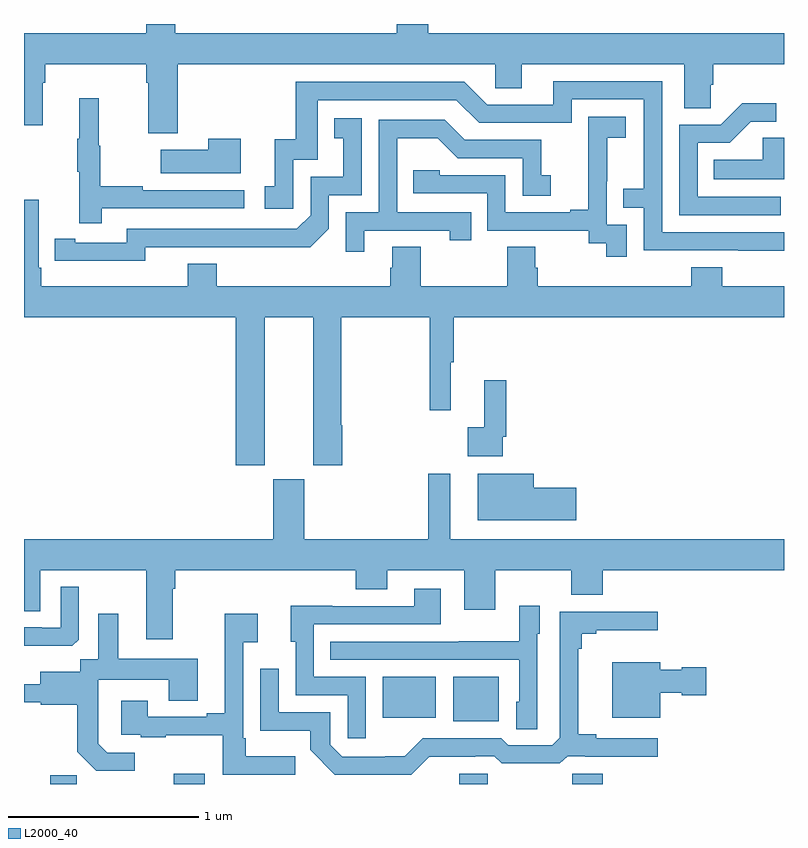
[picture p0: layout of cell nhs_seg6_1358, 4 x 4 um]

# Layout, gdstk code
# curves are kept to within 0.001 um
import gdstk
lib = gdstk.Library(unit=1e-6, precision=1e-09)
def R(c, l, rs):  # rectangles x0, y0, x1, y1
    for r in rs: c.add(gdstk.rectangle(r[:2], r[2:], *l))
def P(c, l, *ps):  # polygons
    for p in ps: c.add(gdstk.Polygon(p, *l))
L2000_40 = (2000, 40)

nhs_seg6_1358 = lib.new_cell('nhs_seg6_1358')
R(nhs_seg6_1358, L2000_40, [(193.139,991.5,193.277,991.547), (193.787,991.5,193.951,991.555), (195.29,991.5,195.441,991.554), (195.886,991.5,196.046,991.554), (195.26,991.829,195.499,992.065), (194.888,991.85,195.166,992.065)])
P(nhs_seg6_1358, L2000_40, [(193.808,995.288),(195.48,995.288),(195.48,995.161),(195.619,995.161),(195.619,995.288),(196.475,995.288),(196.475,995.056),(196.614,995.056),(196.614,995.179),(196.628,995.179),(196.628,995.288),(197,995.288),(197,995.452),(195.128,995.452),(195.128,995.5),(194.963,995.5),(194.963,995.452),(193.796,995.452),(193.796,995.5),(193.643,995.5),(193.643,995.452),(193,995.452),(193,994.968),(193.099,994.968),(193.099,995.192),(193.112,995.192),(193.112,995.288),(193.643,995.288),(193.643,995.192),(193.655,995.192),(193.655,994.926),(193.808,994.926)],
  [(197,994.404),(196.359,994.404),(196.359,995.199),(195.785,995.199),(195.785,995.076),(195.438,995.076),(195.318,995.196),(194.431,995.196),(194.431,994.894),(194.321,994.894),(194.321,994.647),(194.268,994.647),(194.268,994.527),(194.418,994.527),(194.418,994.785),(194.547,994.785),(194.547,995.1),(195.276,995.1),(195.396,994.98),(195.882,994.98),(195.882,995.103),(196.263,995.103),(196.263,994.634),(196.153,994.634),(196.153,994.533),(196.263,994.533),(196.263,994.308),(197,994.307)],
  [(193.409,994.53),(194.158,994.53),(194.158,994.626),(193.625,994.626),(193.625,994.646),(193.402,994.646),(193.402,994.86),(193.394,994.86),(193.394,995.11),(193.292,995.11),(193.292,994.897),(193.281,994.897),(193.281,994.723),(193.292,994.723),(193.292,994.452),(193.409,994.452)],
  [(196.984,994.59),(196.545,994.59),(196.545,994.875),(196.714,994.875),(196.825,994.986),(196.96,994.986),(196.96,995.084),(196.781,995.084),(196.668,994.971),(196.449,994.971),(196.449,994.494),(196.984,994.494)],
  [(196.173,994.443),(196.068,994.443),(196.068,994.673),(196.07,994.673),(196.07,994.901),(196.168,994.901),(196.168,995.011),(195.97,995.011),(195.97,994.805),(195.971,994.805),(195.971,994.522),(195.875,994.522),(195.875,994.509),(195.534,994.509),(195.534,994.704),(195.189,994.704),(195.189,994.731),(195.049,994.731),(195.049,994.608),(195.438,994.608),(195.438,994.413),(195.972,994.413),(195.972,994.345),(196.065,994.345),(196.065,994.275),(196.173,994.275)],
  [(193.638,994.326),(194.506,994.325),(194.604,994.422),(194.604,994.599),(194.778,994.599),(194.778,995.005),(194.632,995.005),(194.632,994.899),(194.681,994.899),(194.681,994.695),(194.508,994.695),(194.508,994.494),(194.436,994.422),(193.542,994.422),(193.542,994.35),(193.27,994.35),(193.27,994.37),(193.162,994.37),(193.162,994.254),(193.638,994.253)],
  [(194.791,994.413),(195.242,994.413),(195.242,994.362),(195.353,994.362),(195.353,994.509),(194.964,994.509),(194.964,994.898),(195.178,994.898),(195.282,994.794),(195.624,994.794),(195.624,994.596),(195.772,994.596),(195.772,994.705),(195.723,994.705),(195.723,994.89),(195.319,994.89),(195.214,994.995),(194.868,994.995),(194.868,994.509),(194.694,994.509),(194.694,994.302),(194.791,994.302)],
  [(197,994.901),(196.887,994.901),(196.887,994.786),(196.63,994.786),(196.63,994.682),(197,994.682)],
  [(194.14,994.897),(193.97,994.897),(193.97,994.837),(193.721,994.837),(193.721,994.715),(194.14,994.715)],
  [(195.087,994.328),(194.939,994.328),(194.939,994.218),(194.927,994.218),(194.927,994.12),(194.015,994.12),(194.015,994.237),(193.862,994.237),(193.862,994.12),(193.091,994.12),(193.091,994.216),(193.077,994.216),(193.077,994.576),(193,994.576),(193,993.956),(194.114,993.956),(194.114,993.177),(194.266,993.177),(194.266,993.956),(194.522,993.956),(194.522,993.177),(194.675,993.177),(194.675,993.389),(194.67,993.389),(194.67,993.956),(195.135,993.956),(195.135,993.468),(195.245,993.468),(195.245,993.72),(195.263,993.72),(195.263,993.956),(197,993.956),(197,994.12),(196.676,994.12),(196.676,994.219),(196.511,994.219),(196.511,994.12),(195.704,994.12),(195.704,994.218),(195.691,994.218),(195.691,994.328),(195.544,994.328),(195.544,994.12),(195.087,994.12)],
  [(195.519,993.328),(195.539,993.328),(195.539,993.625),(195.422,993.625),(195.422,993.377),(195.336,993.377),(195.336,993.224),(195.519,993.224)],
  [(195.907,993.059),(195.682,993.059),(195.682,993.133),(195.389,993.133),(195.389,992.888),(195.907,992.888)],
  [(194.476,993.105),(194.312,993.105),(194.312,992.788),(193,992.788),(193,992.41),(193.086,992.41),(193.086,992.624),(193.643,992.624),(193.643,992.262),(193.783,992.262),(193.783,992.528),(193.796,992.528),(193.796,992.624),(194.747,992.624),(194.747,992.525),(194.911,992.525),(194.911,992.624),(195.317,992.624),(195.317,992.418),(195.481,992.418),(195.481,992.624),(195.881,992.624),(195.881,992.496),(196.045,992.496),(196.045,992.624),(197,992.624),(197,992.788),(195.244,992.788),(195.244,993.133),(195.127,993.133),(195.127,992.788),(194.476,992.788)],
  [(193.287,992.259),(193.287,992.539),(193.194,992.539),(193.194,992.322),(193.094,992.322),(193.094,992.325),(193,992.325),(193,992.228),(193.255,992.228)],
  [(194.799,992.064),(194.526,992.064),(194.526,992.34),(195.193,992.34),(195.193,992.527),(195.053,992.527),(195.053,992.436),(194.623,992.436),(194.623,992.438),(194.405,992.438),(194.405,992.25),(194.43,992.25),(194.43,991.968),(194.703,991.968),(194.703,991.74),(194.799,991.74)],
  [(195.702,992.292),(195.715,992.292),(195.715,992.437),(195.606,992.437),(195.606,992.251),(195.289,992.251),(195.289,992.25),(194.611,992.25),(194.611,992.154),(195.606,992.154),(195.606,991.932),(195.59,991.932),(195.59,991.789),(195.702,991.789)],
  [(195.134,991.643),(195.374,991.643),(195.374,991.647),(195.474,991.647),(195.514,991.608),(195.821,991.608),(195.861,991.647),(195.955,991.647),(195.955,991.643),(196.336,991.643),(196.336,991.74),(196.012,991.74),(196.012,991.763),(195.917,991.763),(195.917,992.213),(195.935,992.213),(195.935,992.29),(196.012,992.29),(196.012,992.309),(196.336,992.309),(196.336,992.406),(195.819,992.406),(195.819,991.743),(195.78,991.704),(195.549,991.704),(195.513,991.74),(195.099,991.74),(195.005,991.646),(194.9,991.646),(194.9,991.644),(194.676,991.644),(194.613,991.707),(194.613,991.878),(194.34,991.878),(194.34,992.107),(194.244,992.107),(194.244,991.781),(194.506,991.781),(194.506,991.679),(194.636,991.548),(195.039,991.548)],
  [(193.582,991.665),(193.437,991.665),(193.39,991.712),(193.39,991.807),(193.392,991.807),(193.392,992.048),(193.763,992.048),(193.763,991.939),(193.915,991.939),(193.915,992.158),(193.495,992.158),(193.495,992.395),(193.391,992.395),(193.391,992.156),(193.296,992.156),(193.296,992.092),(193.085,992.092),(193.085,992.025),(193,992.025),(193,991.929),(193.089,991.929),(193.089,991.917),(193.281,991.917),(193.281,991.671),(193.381,991.571),(193.582,991.571)],
  [(194.428,991.645),(194.167,991.645),(194.167,991.741),(194.154,991.741),(194.154,992.246),(194.23,992.246),(194.23,992.395),(194.057,992.395),(194.057,991.873),(193.961,991.873),(193.961,991.854),(193.651,991.854),(193.651,991.939),(193.511,991.939),(193.511,991.758),(193.615,991.758),(193.615,991.746),(193.747,991.746),(193.747,991.757),(194.046,991.757),(194.046,991.548),(194.428,991.548)],
  [(196.348,991.979),(196.461,991.979),(196.461,991.967),(196.591,991.967),(196.591,992.114),(196.461,992.114),(196.461,992.101),(196.348,992.101),(196.348,992.14),(196.097,992.14),(196.097,991.85),(196.348,991.85)])

lib.write_gds('nhs_seg6_1358.gds')
